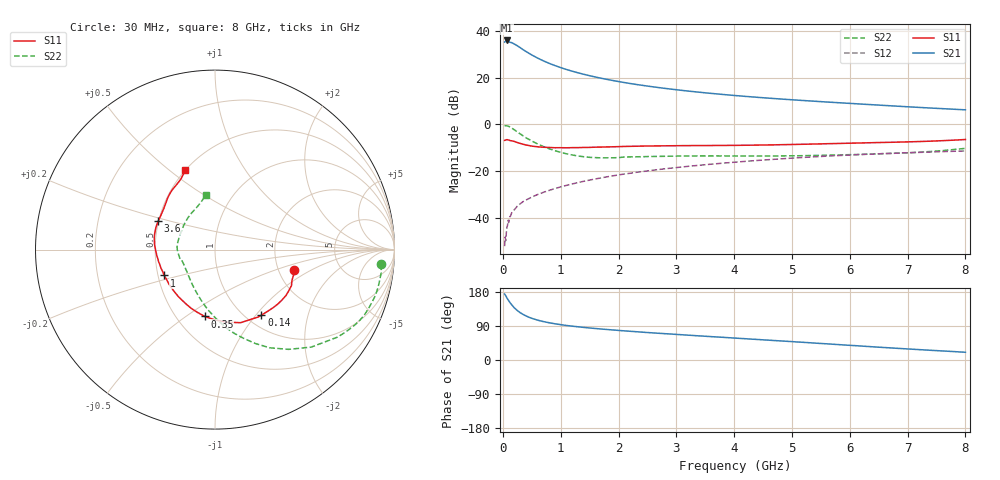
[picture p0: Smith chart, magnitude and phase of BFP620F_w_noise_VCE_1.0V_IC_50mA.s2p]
! Infineon Technologies  Discrete & RF Semiconductors
! BFP620F
! VCE =  1.0 V,  IC =  50 mA
! Common Emitter S-Parameters:  Dec 2014
# GHz  S  MA  R  50
!  f  S11  S21  S12  S22
! GHz  MAG  ANG  MAG  ANG  MAG  ANG  MAG  ANG
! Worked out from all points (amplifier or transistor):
!   95 points, 30 MHz to 8 GHz, reference 50 ohm
!   highest |S21| = 35.9 dB at 70 MHz (marker M1)
!   |S21| within 3 dB of that: start of sweep to 295.5 MHz
!   unconditionally stable (mu >= 1): 1.867 GHz to end of sweep
!   at 300 MHz: K = 0.50, MSG = 33.4 dB, |S12| = -33.9 dB
!   at 3.3 GHz: K = 1.03, MAG = 14.8 dB, |S12| = -17.7 dB
!   at 8 GHz: K = 1.05, MAG = 7.4 dB, |S12| = -11.4 dB
!   lowest NFmin = 1.55 dB at 450 MHz
!   S11 on the Smith chart (normalised r, x): 30 MHz: 2.45, -0.69; 140 MHz: 1.17, -1.07; 350 MHz: 0.68, -0.59; 1 GHz: 0.54, -0.17; 3.6 GHz: 0.50, +0.18; 8 GHz: 0.50, +0.57
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0.03  0.4562 -14.1  57.45 174.2  0.0025 86.9  0.93 -5.1
0.06  0.471 -25.2  61.67 166.8  0.0049 92.4  0.9327 -13.0
0.07  0.4707 -29.1  62.1 163.9  0.0064 80.6  0.9298 -15.9
0.09  0.4669 -37.1  60.67 158.8  0.0089 79.7  0.9147 -21.5
0.12  0.4532 -48.3  57.05 152.1  0.0106 78.8  0.8817 -28.9
0.14  0.4477 -54.7  56.09 148.2  0.0118 75.1  0.8513 -33.6
0.15  0.4459 -57.4  55.93 146.2  0.0127 73.3  0.8383 -35.6
0.2  0.4315 -70.7  51.92 137.4  0.0151 72.8  0.7631 -45.4
0.25  0.4092 -81.1  47.84 130.5  0.0179 67.5  0.6906 -53.6
0.35  0.3766 -98.8  39.45 120.2  0.0224 64.7  0.569 -66.8
0.45  0.3532 -112.0  33.11 112.9  0.026 64.5  0.4784 -77.1
0.6  0.3322 -127.9  26.13 105.2  0.0317 64.6  0.3813 -89.6
0.8  0.3209 -142.4  20.17 98.3  0.0388 64.9  0.3019 -103.3
1  0.3177 -153.1  16.33 93.3  0.0461 65.8  0.2525 -115.6
1.4  0.3215 -168.0  11.75 86.0  0.0609 65.3  0.2035 -138.1
1.9  0.332 179.5  8.664 79.3  0.0795 63.9  0.1933 -159.9
2.7  0.3475 165.5  6.103 70.5  0.1086 59.6  0.2072 -176.1
3.6  0.3537 153.3  4.597 61.7  0.1412 54.0  0.2122 173.0
4.1  0.3572 147.4  4.055 57.0  0.1587 50.7  0.2107 166.9
5.4  0.3812 135.3  3.118 44.6  0.2032 40.9  0.2171 146.3
6.7  0.4142 123.2  2.498 32.0  0.2399 30.5  0.2397 124.6
8  0.4751 110.7  2.047 20.4  0.2706 20.5  0.3077 99.5
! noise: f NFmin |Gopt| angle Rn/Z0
0.45  1.55  0.23  -171  0.17
0.9  1.58  0.23  -171  0.15
1.5  1.6  0.27  -155  0.1
1.8  1.61  0.27  -153  0.1
1.9  1.62  0.27  -151  0.1
2.4  1.63  0.27  214  0.11
3.5  1.71  0.28  221  0.13
5.5  1.82  0.32  252  0.22
6  1.84  0.32  261  0.28
